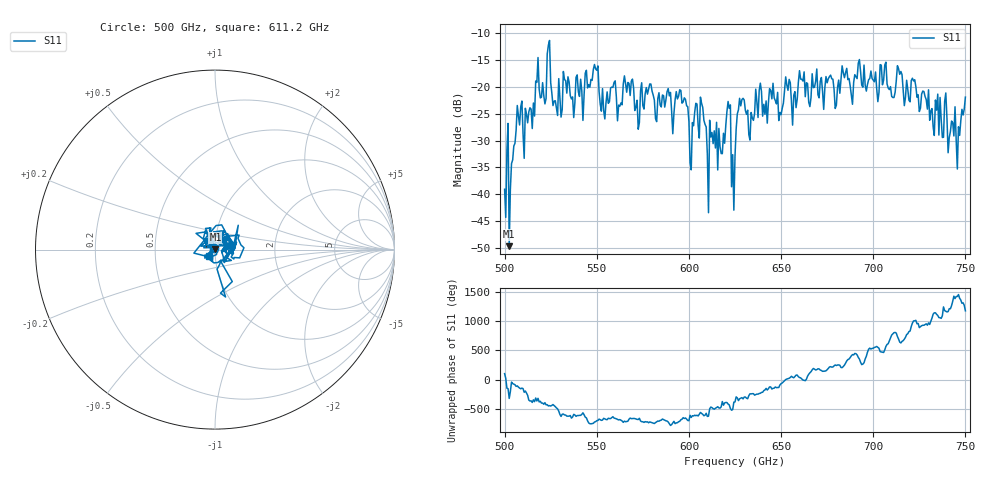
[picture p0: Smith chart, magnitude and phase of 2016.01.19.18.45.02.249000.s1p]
!Created with skrf (http://scikit-rf.org).
# GHz S RI R 50.0
!freq ReS11 ImS11
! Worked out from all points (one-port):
!   401 points, 500 GHz to 750 GHz, reference 50 ohm
!   lowest |S11| = -49.7 dB at 502.5 GHz (marker M1), VSWR 1.01, Z = 50.2 + j0.234 ohm
!   |S11| at or under -10 dB: start of sweep to end of sweep
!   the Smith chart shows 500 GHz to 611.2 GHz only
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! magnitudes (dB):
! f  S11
! 500 GHz  -39.1
! 502.5 GHz  -49.7
! 508.1 GHz  -27.1
! 511.2 GHz  -24.0
! 523.8 GHz  -12.2
! 527.5 GHz  -22.6
! 531.2 GHz  -24.2
! 549.4 GHz  -16.7
! 553.1 GHz  -20.3
! 562.5 GHz  -23.6
! 565.6 GHz  -19.4
! 571.9 GHz  -22.5
! 593.8 GHz  -22.2
! 601.2 GHz  -35.4
! 607.5 GHz  -23.8
! 611.2 GHz  -26.2
! 618.1 GHz  -32.4
! 621.2 GHz  -22.7
! 623.8 GHz  -32.6
! 625 GHz  -32.9
! 628.8 GHz  -22.4
! 633.8 GHz  -24.8
! 637.5 GHz  -25.7
! 656.2 GHz  -27.1
! 687.5 GHz  -19.9
! 718.8 GHz  -20.5
! 746.2 GHz  -27.4
! 750 GHz  -21.9
